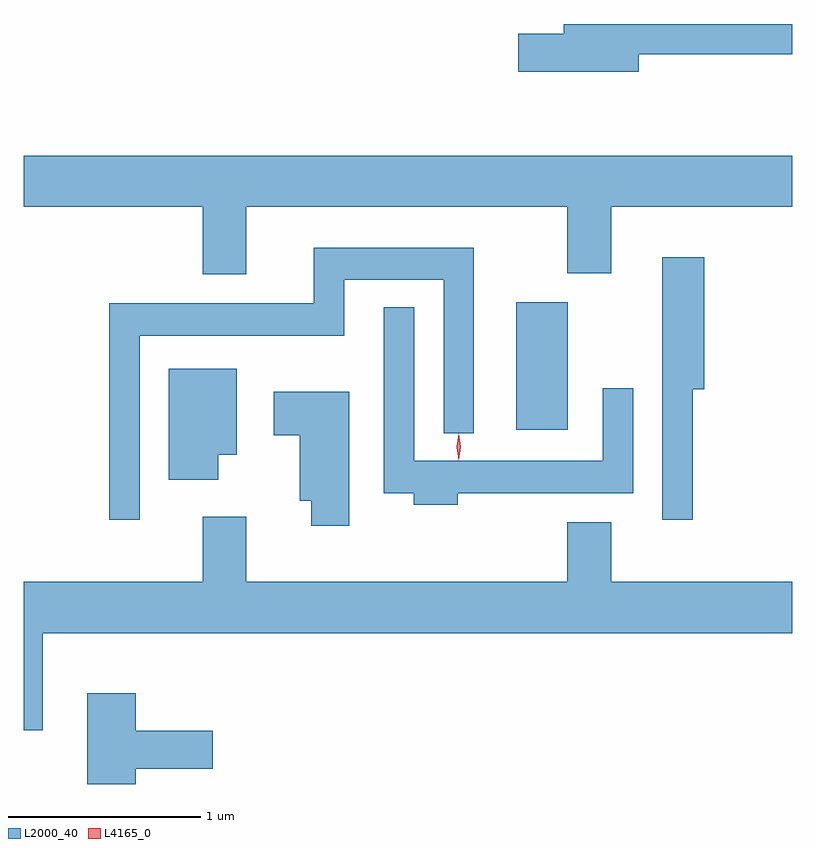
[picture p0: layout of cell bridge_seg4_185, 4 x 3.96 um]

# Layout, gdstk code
import gdstk
lib = gdstk.Library(unit=1e-6, precision=1e-09)
def R(c, l, rs):  # rectangles x0, y0, x1, y1
    for r in rs: c.add(gdstk.rectangle(r[:2], r[2:], *l))
def P(c, l, *ps):  # polygons
    for p in ps: c.add(gdstk.Polygon(p, *l))
L2000_40 = (2000, 40)
L4165_0 = (4165, 0)

bridge_seg4_185 = lib.new_cell('bridge_seg4_185')
R(bridge_seg4_185, L2000_40, [(1048.126,1313.556,1048.394,1314.219)])
P(bridge_seg4_185, L2000_40, [(1048.764,1315.511),(1049.561,1315.511),(1049.561,1315.669),(1048.371,1315.669),(1048.371,1315.619),(1048.136,1315.619),(1048.136,1315.421),(1048.764,1315.421)],
  [(1046.719,1314.716),(1048.391,1314.716),(1048.391,1314.371),(1048.619,1314.371),(1048.619,1314.716),(1049.561,1314.716),(1049.561,1314.984),(1045.561,1314.984),(1045.561,1314.716),(1046.491,1314.716),(1046.491,1314.366),(1046.719,1314.366)],
  [(1046.164,1314.046),(1047.229,1314.046),(1047.229,1314.336),(1047.746,1314.336),(1047.746,1313.538),(1047.904,1313.538),(1047.904,1314.504),(1047.071,1314.504),(1047.071,1314.214),(1046.006,1314.214),(1046.006,1313.088),(1046.164,1313.088)],
  [(1049.044,1313.766),(1049.104,1313.766),(1049.104,1314.454),(1048.886,1314.454),(1048.886,1313.088),(1049.044,1313.088)],
  [(1047.819,1313.226),(1048.734,1313.226),(1048.734,1313.773),(1048.576,1313.773),(1048.576,1313.394),(1047.594,1313.394),(1047.594,1314.193),(1047.436,1314.193),(1047.436,1313.226),(1047.591,1313.226),(1047.591,1313.166),(1047.819,1313.166)],
  [(1046.574,1313.426),(1046.669,1313.426),(1046.669,1313.874),(1046.316,1313.874),(1046.316,1313.296),(1046.574,1313.296)],
  [(1047.254,1313.754),(1046.861,1313.754),(1046.861,1313.526),(1046.996,1313.526),(1046.996,1313.186),(1047.056,1313.186),(1047.056,1313.056),(1047.254,1313.056)],
  [(1045.659,1312.496),(1049.561,1312.496),(1049.561,1312.764),(1048.619,1312.764),(1048.619,1313.074),(1048.391,1313.074),(1048.391,1312.764),(1046.719,1312.764),(1046.719,1313.104),(1046.491,1313.104),(1046.491,1312.764),(1045.561,1312.764),(1045.561,1311.991),(1045.659,1311.991)],
  [(1046.144,1311.791),(1046.544,1311.791),(1046.544,1311.989),(1046.144,1311.989),(1046.144,1312.184),(1045.891,1312.184),(1045.891,1311.711),(1046.144,1311.711)])
P(bridge_seg4_185, L4165_0, [(1047.825,1313.397),(1047.825,1313.398),(1047.815,1313.467),(1047.825,1313.536),(1047.825,1313.536),(1047.826,1313.536),(1047.835,1313.467),(1047.826,1313.398)],
  [(1047.824,1313.399),(1047.824,1313.4),(1047.815,1313.466),(1047.824,1313.532),(1047.825,1313.533),(1047.825,1313.532),(1047.834,1313.466),(1047.825,1313.4)])

lib.write_gds('bridge_seg4_185.gds')
